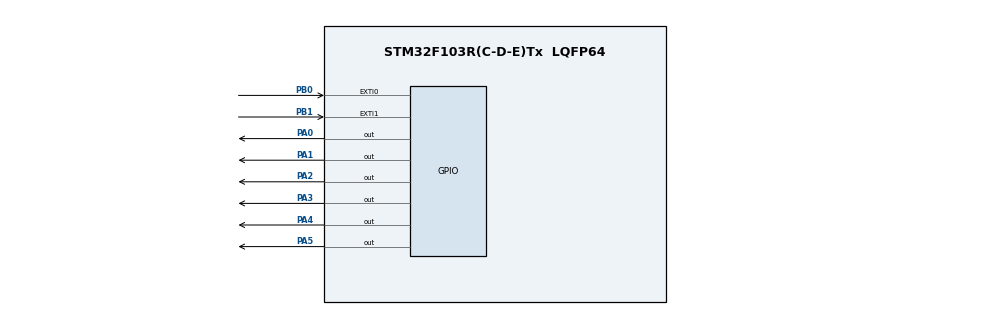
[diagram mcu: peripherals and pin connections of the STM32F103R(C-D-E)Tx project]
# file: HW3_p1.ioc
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Mcu.Family=STM32F1
Mcu.Name=STM32F103R(C-D-E)Tx
Mcu.Package=LQFP64
NVIC.EXTI0_IRQn=true\:0\:0\:false\:false\:true\:true\:true\:true
NVIC.EXTI1_IRQn=true\:0\:0\:false\:false\:true\:true\:true\:true
NVIC.PriorityGroup=NVIC_PRIORITYGROUP_4
PA0-WKUP.Signal=GPIO_Output
PA1.Signal=GPIO_Output
PA13.Mode=Serial_Wire
PA13.Signal=SYS_JTMS-SWDIO
PA14.Mode=Serial_Wire
PA14.Signal=SYS_JTCK-SWCLK
PA2.Signal=GPIO_Output
PA3.Signal=GPIO_Output
PA4.Signal=GPIO_Output
PA5.Signal=GPIO_Output
PB0.GPIO_PuPd=GPIO_PULLDOWN
PB0.Signal=GPXTI0
PB1.GPIO_PuPd=GPIO_PULLDOWN
PB1.Signal=GPXTI1
PD0-OSC_IN.Mode=HSE-External-Oscillator
PD0-OSC_IN.Signal=RCC_OSC_IN
PD1-OSC_OUT.Mode=HSE-External-Oscillator
PD1-OSC_OUT.Signal=RCC_OSC_OUT
ProjectManager.HeapSize=0x200
ProjectManager.StackSize=0x400
ProjectManager.TargetToolchain=MDK-ARM V5.32
RCC.APB1Freq_Value=8000000
RCC.APB2Freq_Value=8000000
board=custom

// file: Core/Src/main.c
/* USER CODE BEGIN Header */
/**
  ******************************************************************************
  * @file           : main.c
  * @brief          : Main program body
  ******************************************************************************
  * @attention
  *
  * Copyright (c) 2026 STMicroelectronics.
  * All rights reserved.
  *
  * This software is licensed under terms that can be found in the LICENSE file
  * in the root directory of this software component.
  * If no LICENSE file comes with this software, it is provided AS-IS.
  *
  ******************************************************************************
  */
/* USER CODE END Header */
#include "main.h"

/* USER CODE BEGIN Includes */
#include "lcd.h"
#include <string.h>
/* USER CODE END Includes */

/* USER CODE BEGIN PTD */
#define RS_PIN GPIO_PIN_0
#define RS_PORT GPIOA

#define ENB_PIN GPIO_PIN_1
#define ENB_PORT GPIOA

#define LCD_PORTS {GPIOA,GPIOA,GPIOA,GPIOA}
#define LCD_PINS {GPIO_PIN_2,GPIO_PIN_3,GPIO_PIN_4,GPIO_PIN_5}
/* USER CODE END PTD */

/* USER CODE BEGIN PV */
uint8_t counter=0;
/* USER CODE END PV */

void SystemClock_Config(void);
static void MX_GPIO_Init(void);

/* USER CODE BEGIN 0 */
void HAL_GPIO_EXTI_Callback(uint16_t GPIO_Pin){
	if(GPIO_Pin == GPIO_PIN_0){
	counter++;
	}
	if(GPIO_Pin == GPIO_PIN_1){
		counter =0;
	}
}
/* USER CODE END 0 */

int main(void)
{

  /* MCU Configuration--------------------------------------------------------*/

  /* Reset of all peripherals, Initializes the Flash interface and the Systick. */
  HAL_Init();

  /* Configure the system clock */
  SystemClock_Config();

  /* Initialize all configured peripherals */
  MX_GPIO_Init();
  /* USER CODE BEGIN 2 */
	Lcd_PortType Ports[] = LCD_PORTS;
	Lcd_PinType Pins[]= LCD_PINS;

	Lcd_HandleTypeDef lcd;
	lcd = Lcd_create(Ports, Pins, RS_PORT, RS_PIN, ENB_PORT, ENB_PIN, LCD_4_BIT_MODE);
	char buff[20];

	Lcd_clear(&lcd);
	Lcd_cursor(&lcd,0,0);
	Lcd_string(&lcd,"Counter: ");

  /* USER CODE END 2 */

  /* Infinite loop */
  while (1)
  {

    /* USER CODE BEGIN 3 */
		sprintf(buff, "%3d",counter);
		Lcd_cursor(&lcd,0,9);
		Lcd_string(&lcd,buff);

		HAL_Delay(500);
  }
  /* USER CODE END 3 */
}

void SystemClock_Config(void)
{
  RCC_OscInitTypeDef RCC_OscInitStruct = {0};
  RCC_ClkInitTypeDef RCC_ClkInitStruct = {0};

  /** Initializes the RCC Oscillators according to the specified parameters
  * in the RCC_OscInitTypeDef structure.
  */
  RCC_OscInitStruct.OscillatorType = RCC_OSCILLATORTYPE_HSI;
  RCC_OscInitStruct.HSIState = RCC_HSI_ON;
  RCC_OscInitStruct.HSICalibrationValue = RCC_HSICALIBRATION_DEFAULT;
  RCC_OscInitStruct.PLL.PLLState = RCC_PLL_NONE;
  if (HAL_RCC_OscConfig(&RCC_OscInitStruct) != HAL_OK)
  {
    Error_Handler();
  }

  /** Initializes the CPU, AHB and APB buses clocks
  */
  RCC_ClkInitStruct.ClockType = RCC_CLOCKTYPE_HCLK|RCC_CLOCKTYPE_SYSCLK
                              |RCC_CLOCKTYPE_PCLK1|RCC_CLOCKTYPE_PCLK2;
  RCC_ClkInitStruct.SYSCLKSource = RCC_SYSCLKSOURCE_HSI;
  RCC_ClkInitStruct.AHBCLKDivider = RCC_SYSCLK_DIV1;
  RCC_ClkInitStruct.APB1CLKDivider = RCC_HCLK_DIV1;
  RCC_ClkInitStruct.APB2CLKDivider = RCC_HCLK_DIV1;

  if (HAL_RCC_ClockConfig(&RCC_ClkInitStruct, FLASH_LATENCY_0) != HAL_OK)
  {
    Error_Handler();
  }
}

static void MX_GPIO_Init(void)
{
  GPIO_InitTypeDef GPIO_InitStruct = {0};

  /* GPIO Ports Clock Enable */
  __HAL_RCC_GPIOD_CLK_ENABLE();
  __HAL_RCC_GPIOA_CLK_ENABLE();
  __HAL_RCC_GPIOB_CLK_ENABLE();

  /*Configure GPIO pin Output Level */
  HAL_GPIO_WritePin(GPIOA, GPIO_PIN_0|GPIO_PIN_1|GPIO_PIN_2|GPIO_PIN_3
                          |GPIO_PIN_4|GPIO_PIN_5, GPIO_PIN_RESET);

  /*Configure GPIO pins : PA0 PA1 PA2 PA3
                           PA4 PA5 */
  GPIO_InitStruct.Pin = GPIO_PIN_0|GPIO_PIN_1|GPIO_PIN_2|GPIO_PIN_3
                          |GPIO_PIN_4|GPIO_PIN_5;
  GPIO_InitStruct.Mode = GPIO_MODE_OUTPUT_PP;
  GPIO_InitStruct.Pull = GPIO_NOPULL;
  GPIO_InitStruct.Speed = GPIO_SPEED_FREQ_LOW;
  HAL_GPIO_Init(GPIOA, &GPIO_InitStruct);

  /*Configure GPIO pins : PB0 PB1 */
  GPIO_InitStruct.Pin = GPIO_PIN_0|GPIO_PIN_1;
  GPIO_InitStruct.Mode = GPIO_MODE_IT_RISING;
  GPIO_InitStruct.Pull = GPIO_PULLDOWN;
  HAL_GPIO_Init(GPIOB, &GPIO_InitStruct);

  /* EXTI interrupt init*/
  HAL_NVIC_SetPriority(EXTI0_IRQn, 0, 0);
  HAL_NVIC_EnableIRQ(EXTI0_IRQn);

  HAL_NVIC_SetPriority(EXTI1_IRQn, 0, 0);
  HAL_NVIC_EnableIRQ(EXTI1_IRQn);

}

void Error_Handler(void)
{
  __disable_irq();
  while (1)
  {
  }
}
